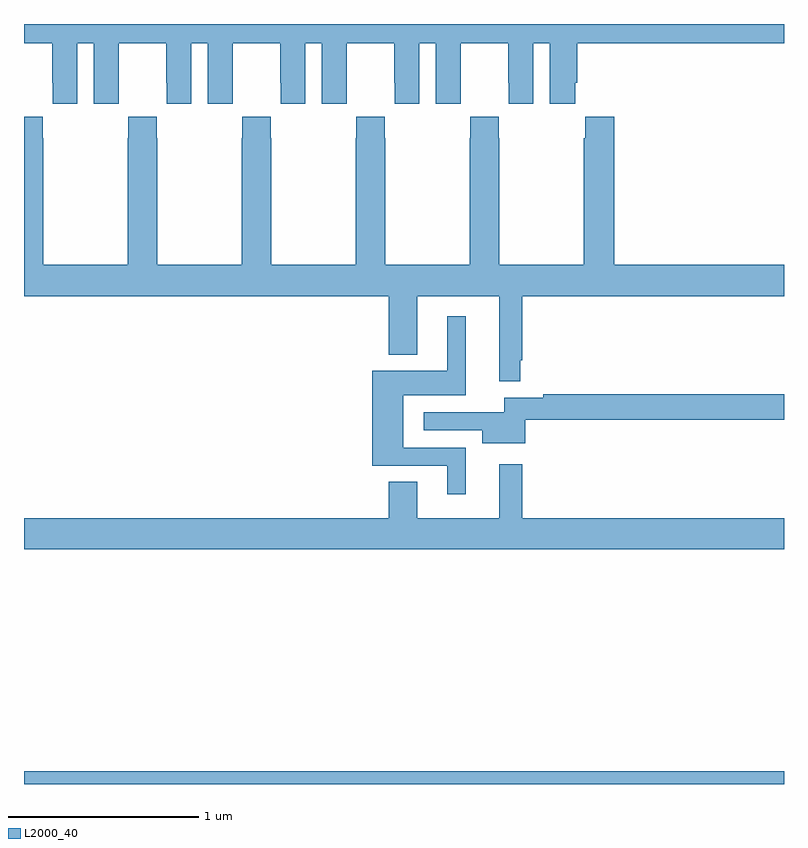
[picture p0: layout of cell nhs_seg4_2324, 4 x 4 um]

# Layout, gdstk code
import gdstk
lib = gdstk.Library(unit=1e-6, precision=1e-09)
def R(c, l, rs):  # rectangles x0, y0, x1, y1
    for r in rs: c.add(gdstk.rectangle(r[:2], r[2:], *l))
def P(c, l, *ps):  # polygons
    for p in ps: c.add(gdstk.Polygon(p, *l))
L2000_40 = (2000, 40)

nhs_seg4_2324 = lib.new_cell('nhs_seg4_2324')
R(nhs_seg4_2324, L2000_40, [(231,812.9,235,812.968)])
P(nhs_seg4_2324, L2000_40, [(231,816.8),(231.149,816.8),(231.149,816.592),(231.15,816.592),(231.15,816.48),(231.28,816.48),(231.28,816.8),(231.368,816.8),(231.368,816.48),(231.498,816.48),(231.498,816.592),(231.499,816.592),(231.499,816.8),(231.749,816.8),(231.749,816.592),(231.75,816.592),(231.75,816.48),(231.88,816.48),(231.88,816.8),(231.968,816.8),(231.968,816.48),(232.098,816.48),(232.098,816.592),(232.099,816.592),(232.099,816.8),(232.349,816.8),(232.349,816.592),(232.35,816.592),(232.35,816.48),(232.48,816.48),(232.48,816.8),(232.568,816.8),(232.568,816.48),(232.698,816.48),(232.698,816.592),(232.699,816.592),(232.699,816.8),(232.949,816.8),(232.949,816.592),(232.95,816.592),(232.95,816.48),(233.08,816.48),(233.08,816.8),(233.168,816.8),(233.168,816.48),(233.298,816.48),(233.298,816.592),(233.299,816.592),(233.299,816.8),(233.549,816.8),(233.549,816.592),(233.55,816.592),(233.55,816.48),(233.68,816.48),(233.68,816.8),(233.768,816.8),(233.768,816.48),(233.902,816.48),(233.902,816.592),(233.912,816.592),(233.912,816.8),(235,816.8),(235,816.9),(231,816.9)],
  [(233.612,815.131),(233.623,815.131),(233.623,815.468),(235,815.468),(235,815.632),(234.107,815.632),(234.107,816.412),(233.953,816.412),(233.953,816.299),(233.947,816.299),(233.947,815.632),(233.502,815.632),(233.502,816.299),(233.499,816.299),(233.499,816.412),(233.349,816.412),(233.349,816.299),(233.347,816.299),(233.347,815.632),(232.902,815.632),(232.902,816.299),(232.899,816.299),(232.899,816.412),(232.749,816.412),(232.749,816.299),(232.747,816.299),(232.747,815.632),(232.302,815.632),(232.302,816.299),(232.299,816.299),(232.299,816.412),(232.149,816.412),(232.149,816.299),(232.147,816.299),(232.147,815.632),(231.702,815.632),(231.702,816.299),(231.699,816.299),(231.699,816.412),(231.549,816.412),(231.549,816.299),(231.547,816.299),(231.547,815.632),(231.102,815.632),(231.102,816.299),(231.099,816.299),(231.099,816.412),(231,816.412),(231,815.468),(232.919,815.468),(232.919,815.159),(233.071,815.159),(233.071,815.468),(233.501,815.468),(233.501,815.019),(233.612,815.019)],
  [(233.326,814.671),(232.996,814.671),(232.996,814.946),(233.326,814.946),(233.326,815.362),(233.228,815.362),(233.228,815.074),(232.832,815.074),(232.832,814.575),(233.228,814.575),(233.228,814.425),(233.326,814.425)],
  [(233.638,814.816),(235,814.816),(235,814.952),(233.734,814.952),(233.734,814.932),(233.528,814.932),(233.528,814.857),(233.103,814.857),(233.103,814.761),(233.411,814.761),(233.411,814.694),(233.638,814.694)],
  [(235,814.3),(233.623,814.3),(233.623,814.582),(233.501,814.582),(233.501,814.3),(233.071,814.3),(233.071,814.49),(232.919,814.49),(232.919,814.3),(231,814.3),(231,814.136),(235,814.136)])

lib.write_gds('nhs_seg4_2324.gds')
